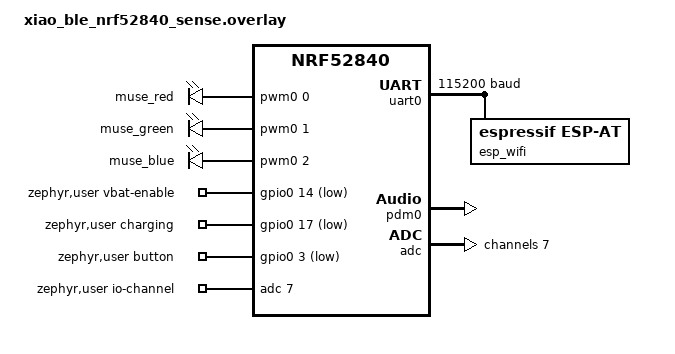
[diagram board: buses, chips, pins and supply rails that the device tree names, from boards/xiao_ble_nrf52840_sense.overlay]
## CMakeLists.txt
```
# Muse gadget firmware for the Seeed XIAO nRF52840 Sense (Zephyr).
cmake_minimum_required(VERSION 3.20.0)
find_package(Zephyr REQUIRED HINTS $ENV{ZEPHYR_BASE})
project(muse_xiao_sense LANGUAGES C CXX)

target_sources(app PRIVATE
  src/main.c
  src/mem.c
  src/identity.c
  src/store.c
  src/b64url.c
  src/ble_framing.c
  src/pairing.c
  src/setup.c
  src/net.c
  src/https.c
  src/muse_api.c
  src/link.cpp
  src/service.c
  src/commands.c
  lib/cjson/cJSON.c
)
target_sources_ifdef(CONFIG_BT app PRIVATE src/ble_gatt.c)
target_sources_ifdef(CONFIG_MUSE_SETUP_OVER_TCP app PRIVATE src/setup_tcp.c)
target_sources_ifdef(CONFIG_MUSE_BOARD_XIAO app PRIVATE src/board_xiao.c)
target_sources_ifndef(CONFIG_MUSE_BOARD_XIAO app PRIVATE src/board_sim.c)

# The Muse Gadget SDK's own Noise client core, unchanged, on PSA Crypto.
target_sources(app PRIVATE
  lib/noise_core/src/ClientSession.cpp
  lib/noise_core/src/InitiatorHandshake.cpp
  lib/noise_core/src/PsaCryptoBackend.cpp
  lib/noise_core/src/ServiceCodec.cpp
  lib/noise_core/src/Status.cpp
  lib/noise_core/src/Transport.cpp
  lib/noise_core/src/TransportFrameCodec.cpp
)
target_include_directories(app PRIVATE src lib/noise_core/include lib/cjson)
zephyr_include_directories(src)

# The root CA the Muse endpoints chain to (DigiCert Global Root G2).
generate_inc_file_for_target(app ${CMAKE_CURRENT_SOURCE_DIR}/${CONFIG_MUSE_ROOT_CA_FILE}
  ${ZEPHYR_BINARY_DIR}/include/generated/muse_root_ca.der.inc)
```

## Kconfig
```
mainmenu "Muse gadget for the Seeed XIAO nRF52840 Sense"

menu "Muse gadget"

config MUSE_SDK_TOKEN
	string "Muse Gadgets SDK token"
	default ""
	help
	  Your SDK token (mgst_...) from gadgets.muse.ai > Account > SDK tokens.
	  Every gadget needs one to pair. Never commit it.

config MUSE_FW_VERSION
	string "Firmware version reported to Muse"
	default "1.0.0"

config MUSE_DISPLAY_NAME
	string "Name shown in Muse"
	default "XIAO nRF52840 Sense"

config MUSE_API_BASE
	string "Muse API base URL, used when the app sends none"
	default "https://api.muse.ai"

config MUSE_NOISE_HOST
	string "Muse Noise host, used when the app sends none"
	default "hatch.metaaivm.com"

config MUSE_REGISTER_PLATFORM
	string "platform sent in link.register"
	default "esp32"
	help
	  The XIAO speaks the same pairing and control protocols as the SDK's
	  ESP32 firmware ("hatch_link" pairing model), so it registers with the
	  same platform, device family and model id that Muse already knows.

config MUSE_REGISTER_MODEL_ID
	string "model_id sent in link.register"
	default "esp-link"

config MUSE_ROOT_CA_FILE
	string "Root CA (DER) that the Muse endpoints must chain to"
	default "certs/digicert_global_root_g2.der"
	help
	  DigiCert Global Root G2 signs api.muse.ai and hatch.metaaivm.com.
	  The native_sim test substitutes its own CA for local fakes.

config MUSE_ALLOW_PLAINTEXT
	bool "Allow http:// and ws:// endpoints (tests only)"
	help
	  For the native_sim end-to-end test against local fakes. Never enable
	  it on hardware: setup secrets and device tokens would cross the
	  network unencrypted.

config MUSE_SETUP_OVER_TCP
	bool "Serve BLE setup over a TCP socket instead (tests only)"
	help
	  native_sim has no Bluetooth; this carries the exact GATT packet
	  stream over TCP so a test can play the Muse app.

config MUSE_SETUP_TCP_PORT
	int "TCP port for setup in tests"
	depends on MUSE_SETUP_OVER_TCP
	default 7700

config MUSE_NET_WIFI
	bool "Join Wi-Fi with the credentials from setup"
	default y if WIFI
	help
	  With a Wi-Fi interface (ESP-AT module on the XIAO's UART), setup
	  joins the network the Muse app picks. Without one, the device uses
	  whatever network it already has and offers it as the only choice,
	  like the SDK's Linux gadget.

config MUSE_BOARD_XIAO
	bool "XIAO nRF52840 Sense hardware (IMU, microphone, LED, battery)"
	default y if BOARD_XIAO_BLE

config MUSE_HEAP_SIZE
	int "Bytes for the gadget's heap (cJSON, mbedTLS, Noise buffers)"
	default 102400
	help
	  A live session holds a TLS connection (16 KB receive record buffer)
	  and the Noise session buffers (~44 KB). The log reports the peak.

config MUSE_BUTTON_FACTORY_RESET_S
	int "Hold the D1 button this long to forget the pairing"
	default 5

endmenu

source "Kconfig.zephyr"
```

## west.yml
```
# West manifest: `west init -l firmware && west update` fetches Zephyr 4.2
# and only the modules this firmware needs.
manifest:
  remotes:
    - name: zephyrproject-rtos
      url-base: https://github.com/zephyrproject-rtos
  projects:
    - name: zephyr
      remote: zephyrproject-rtos
      revision: v4.2.0
      import:
        name-allowlist: [cmsis, cmsis_6, hal_nordic, mbedtls, segger, picolibc]
  self:
    path: firmware
```

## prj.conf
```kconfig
# Common configuration. Board specifics are in boards/.

CONFIG_CPP=y
CONFIG_STD_CPP17=y
CONFIG_REQUIRES_FULL_LIBCPP=y
CONFIG_REQUIRES_FLOAT_PRINTF=y
CONFIG_MAIN_STACK_SIZE=3072
CONFIG_SYSTEM_WORKQUEUE_STACK_SIZE=2048
CONFIG_HWINFO=y
CONFIG_REBOOT=y
CONFIG_ENTROPY_GENERATOR=y
CONFIG_SYS_HEAP_RUNTIME_STATS=y

CONFIG_LOG=y
CONFIG_LOG_MODE_DEFERRED=y

# Pairing record and Wi-Fi credentials
CONFIG_FLASH=y
CONFIG_FLASH_MAP=y
CONFIG_NVS=y
CONFIG_SETTINGS=y
CONFIG_SETTINGS_NVS=y

# Networking: sockets, TLS, HTTP and WebSocket clients
CONFIG_NETWORKING=y
CONFIG_NET_SOCKETS=y
CONFIG_NET_SOCKETS_SOCKOPT_TLS=y
CONFIG_NET_SOCKETS_TLS_MAX_CONTEXTS=2
CONFIG_NET_SOCKETS_POLL_MAX=6
CONFIG_TLS_CREDENTIALS=y
CONFIG_TLS_MAX_CREDENTIALS_NUMBER=2
CONFIG_HTTP_CLIENT=y
CONFIG_WEBSOCKET_CLIENT=y
CONFIG_ZVFS_OPEN_MAX=16

# mbedTLS: TLS 1.2 to the Muse endpoints (RSA certificates from DigiCert
# Global Root G2), plus the primitives for BLE pairing (P-256 ECDH, HKDF,
# AES-GCM) and the Noise session (X25519, AES-GCM, SHA-256) via PSA.
CONFIG_MBEDTLS=y
CONFIG_MBEDTLS_BUILTIN=y
CONFIG_MBEDTLS_SSL_MAX_CONTENT_LEN=16384
# Servers may send full 16 KB records; ours stay small (see mbedtls_user_config.h).
CONFIG_MBEDTLS_USER_CONFIG_ENABLE=y
CONFIG_MBEDTLS_USER_CONFIG_FILE="mbedtls_user_config.h"
CONFIG_MBEDTLS_TLS_VERSION_1_2=y
CONFIG_MBEDTLS_SERVER_NAME_INDICATION=y
CONFIG_MBEDTLS_KEY_EXCHANGE_ECDHE_RSA_ENABLED=y
CONFIG_MBEDTLS_KEY_EXCHANGE_RSA_ENABLED=n
CONFIG_MBEDTLS_KEY_EXCHANGE_ALL_ENABLED=n
CONFIG_MBEDTLS_RSA_C=y
CONFIG_MBEDTLS_PKCS1_V15=y
CONFIG_MBEDTLS_PKCS1_V21=y
CONFIG_MBEDTLS_ECP_C=y
CONFIG_MBEDTLS_ECDH_C=y
CONFIG_MBEDTLS_ECP_DP_SECP256R1_ENABLED=y
CONFIG_MBEDTLS_ECP_DP_SECP384R1_ENABLED=y
CONFIG_MBEDTLS_ECP_DP_CURVE25519_ENABLED=y
CONFIG_MBEDTLS_ECP_NIST_OPTIM=y
CONFIG_MBEDTLS_CIPHER_AES_ENABLED=y
CONFIG_MBEDTLS_CIPHER_GCM_ENABLED=y
CONFIG_MBEDTLS_CIPHER_MODE_CBC_ENABLED=y
CONFIG_MBEDTLS_SHA256=y
CONFIG_MBEDTLS_SHA384=y
CONFIG_MBEDTLS_SHA512=y
CONFIG_MBEDTLS_SHA1=y
CONFIG_MBEDTLS_HKDF_C=y
CONFIG_MBEDTLS_MD=y
CONFIG_MBEDTLS_CIPHER=y
CONFIG_MBEDTLS_ENTROPY_C=y
CONFIG_MBEDTLS_CTR_DRBG_ENABLED=y
CONFIG_MBEDTLS_PSA_CRYPTO_C=y
CONFIG_PSA_WANT_ALG_ECDH=y
CONFIG_PSA_WANT_ALG_GCM=y
CONFIG_PSA_WANT_ALG_HKDF=y
CONFIG_PSA_WANT_ALG_HMAC=y
CONFIG_PSA_WANT_ALG_SHA_256=y
CONFIG_PSA_WANT_ECC_SECP_R1_256=y
CONFIG_PSA_WANT_ECC_MONTGOMERY_255=y
CONFIG_PSA_WANT_KEY_TYPE_AES=y
CONFIG_PSA_WANT_KEY_TYPE_ECC_PUBLIC_KEY=y
CONFIG_PSA_WANT_KEY_TYPE_ECC_KEY_PAIR_IMPORT=y
CONFIG_PSA_WANT_KEY_TYPE_ECC_KEY_PAIR_EXPORT=y
CONFIG_PSA_WANT_KEY_TYPE_ECC_KEY_PAIR_GENERATE=y
CONFIG_PSA_WANT_KEY_TYPE_ECC_KEY_PAIR_DERIVE=y
CONFIG_PSA_WANT_KEY_TYPE_DERIVE=y
CONFIG_PSA_WANT_KEY_TYPE_HMAC=y
# Certificate signatures (RSA, SHA-256/384) are checked through PSA too.
CONFIG_PSA_WANT_ALG_RSA_PKCS1V15_SIGN=y
CONFIG_PSA_WANT_ALG_RSA_PSS=y
CONFIG_PSA_WANT_KEY_TYPE_RSA_PUBLIC_KEY=y
CONFIG_PSA_WANT_ALG_SHA_384=y
CONFIG_PSA_WANT_ALG_SHA_512=y
CONFIG_PSA_WANT_ALG_SHA_1=y
# TLS 1.2 key derivation and record protection through PSA.
CONFIG_PSA_WANT_ALG_TLS12_PRF=y
CONFIG_PSA_WANT_KEY_TYPE_RAW_DATA=y
CONFIG_PSA_WANT_ALG_CBC_NO_PADDING=y
CONFIG_PSA_WANT_ALG_ECB_NO_PADDING=y
```

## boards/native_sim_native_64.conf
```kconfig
# native_sim: the end-to-end test against local fakes (tests/test_e2e_sim.py).
# Same TLS path as the hardware, with a test CA, and the same heap budget as
# the XIAO (64-bit pointers make this the harder case).
CONFIG_MUSE_HEAP_SIZE=102400
CONFIG_HEAP_MEM_POOL_SIZE=10240
CONFIG_NET_DRIVERS=y
CONFIG_NET_SOCKETS_OFFLOAD=y
CONFIG_NET_NATIVE_OFFLOADED_SOCKETS=y
CONFIG_NET_IPV4=y
CONFIG_NET_IPV6=n
CONFIG_DNS_RESOLVER=n
CONFIG_MUSE_SETUP_OVER_TCP=y
CONFIG_MUSE_ROOT_CA_FILE="tests/certs/test_ca.der"
CONFIG_MUSE_API_BASE="https://localhost:18443"
CONFIG_MUSE_NOISE_HOST="localhost:18444"
CONFIG_MUSE_SDK_TOKEN="mgst_test_only"
CONFIG_LOG_MODE_IMMEDIATE=y
CONFIG_LOG_MODE_DEFERRED=n
CONFIG_NATIVE_SIM_SLOWDOWN_TO_REAL_TIME=y
```

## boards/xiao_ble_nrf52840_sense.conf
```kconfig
# Seeed XIAO nRF52840 Sense

# Memory: cJSON, mbedTLS and the Noise session share the gadget's own heap
# (CONFIG_MUSE_HEAP_SIZE); the kernel heap serves Zephyr internals such as
# WebSocket send buffers, and libc malloc has no users.
CONFIG_MUSE_HEAP_SIZE=102400
CONFIG_HEAP_MEM_POOL_SIZE=10240
CONFIG_COMMON_LIBC_MALLOC_ARENA_SIZE=2048
CONFIG_LOG_BUFFER_SIZE=2048
CONFIG_ISR_STACK_SIZE=2048

# Bluetooth LE setup (the Muse app pairs over GATT)
CONFIG_BT=y
CONFIG_BT_PERIPHERAL=y
CONFIG_BT_DEVICE_NAME="MuseGadget"
CONFIG_BT_DEVICE_NAME_DYNAMIC=y
CONFIG_BT_DEVICE_NAME_MAX=24
CONFIG_BT_MAX_CONN=1
CONFIG_BT_L2CAP_TX_MTU=247
CONFIG_BT_BUF_ACL_RX_SIZE=251
CONFIG_BT_BUF_ACL_TX_SIZE=251
CONFIG_BT_CTLR_DATA_LENGTH_MAX=251
CONFIG_BT_GATT_CLIENT=n
CONFIG_BT_RX_STACK_SIZE=2048

# Wi-Fi through an ESP-AT module on the XIAO's UART (D6 TX, D7 RX)
CONFIG_WIFI=y
CONFIG_WIFI_ESP_AT=y
CONFIG_WIFI_ESP_AT_DNS_USE=y
CONFIG_WIFI_ESP_AT_MDM_RX_BUF_COUNT=24
CONFIG_WIFI_ESP_AT_MDM_RING_BUF_SIZE=2048
CONFIG_NET_L2_WIFI_MGMT=y
CONFIG_NET_MGMT=y
CONFIG_NET_MGMT_EVENT=y
CONFIG_NET_MGMT_EVENT_INFO=y
CONFIG_NET_MGMT_EVENT_STACK_SIZE=2048
CONFIG_NET_IPV4=y
CONFIG_NET_IPV6=n
CONFIG_NET_TCP=y
CONFIG_NET_DHCPV4=n
CONFIG_DNS_RESOLVER=y
CONFIG_DNS_RESOLVER_MAX_SERVERS=2
CONFIG_NET_UDP=y

# Sensors
CONFIG_SENSOR=y
CONFIG_LSM6DSL=y
CONFIG_LSM6DSL_ENABLE_TEMP=y
CONFIG_I2C=y
CONFIG_AUDIO=y
CONFIG_AUDIO_DMIC=y
CONFIG_ADC=y
CONFIG_PWM=y
CONFIG_REGULATOR=y
CONFIG_NET_MAX_CONN=4
```

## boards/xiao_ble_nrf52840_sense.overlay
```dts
/*
 * Muse gadget wiring on the XIAO nRF52840 Sense.
 *
 * Wi-Fi: an ESP32 running Espressif's ESP-AT firmware on UART0
 *   XIAO D6 (TX, P1.11) -> ESP RX, XIAO D7 (RX, P1.12) <- ESP TX, GND, 3V3.
 * Button: optional, between D1 (P0.03) and GND.
 */

&uart0 {
	status = "okay";
	current-speed = <115200>;

	esp_wifi: esp-wifi {
		compatible = "espressif,esp-at";
		status = "okay";
	};
};

/* The RGB LED on three PWM channels so it can mix colours. */
&pwm0_default {
	group1 {
		psels = <NRF_PSEL(PWM_OUT0, 0, 26)>,
			<NRF_PSEL(PWM_OUT1, 0, 30)>,
			<NRF_PSEL(PWM_OUT2, 0, 6)>;
	};
};

&pwm0_sleep {
	group1 {
		psels = <NRF_PSEL(PWM_OUT0, 0, 26)>,
			<NRF_PSEL(PWM_OUT1, 0, 30)>,
			<NRF_PSEL(PWM_OUT2, 0, 6)>;
		low-power-enable;
	};
};

/ {
	muse_rgb {
		compatible = "pwm-leds";
		muse_red: muse_red {
			pwms = <&pwm0 0 PWM_MSEC(2) PWM_POLARITY_INVERTED>;
		};
		muse_green: muse_green {
			pwms = <&pwm0 1 PWM_MSEC(2) PWM_POLARITY_INVERTED>;
		};
		muse_blue: muse_blue {
			pwms = <&pwm0 2 PWM_MSEC(2) PWM_POLARITY_INVERTED>;
		};
	};

	zephyr,user {
		io-channels = <&adc 7>;
		/* Held asserted (low): enables the VBAT divider on P0.31. */
		vbat-enable-gpios = <&gpio0 14 GPIO_ACTIVE_LOW>;
		/* BQ25101 ~CHG, low while charging. */
		charging-gpios = <&gpio0 17 (GPIO_ACTIVE_LOW | GPIO_PULL_UP)>;
		button-gpios = <&gpio0 3 (GPIO_ACTIVE_LOW | GPIO_PULL_UP)>;
	};
};

/* The board file configures the PDM microphone but leaves it disabled. */
&pdm0 {
	status = "okay";
};

&adc {
	#address-cells = <1>;
	#size-cells = <0>;

	channel@7 {
		reg = <7>;
		zephyr,gain = "ADC_GAIN_1_6";
		zephyr,reference = "ADC_REF_INTERNAL";
		zephyr,acquisition-time = <ADC_ACQ_TIME(ADC_ACQ_TIME_MICROSECONDS, 40)>;
		zephyr,input-positive = <NRF_SAADC_AIN7>;
		zephyr,resolution = <12>;
	};
};
```

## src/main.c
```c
/*
 * Muse gadget firmware for the Seeed XIAO nRF52840 Sense.
 *
 * A port of the Muse Gadget SDK (github.com/facebookincubator/muse-gadget-sdk)
 * to Zephyr: the XIAO pairs with the Muse app over BLE as MuseGadgetXXXXXX,
 * joins Wi-Fi, and holds its own encrypted Noise session to the Muse VM,
 * serving commands for its motion sensor, microphone, battery and light.
 */
#include <string.h>
#include <zephyr/kernel.h>
#include <zephyr/logging/log.h>
#include "board.h"
#include "identity.h"
#include "link.h"
#include "net.h"
#include "pairing.h"
#include "service.h"
#include "setup.h"
#include "setup_transport.h"
#include "store.h"

LOG_MODULE_REGISTER(main, LOG_LEVEL_INF);

static void on_setup_complete(void)
{
	setup_transport_stop(1500);
	service_kick();
}

static void on_board_event(const char *event)
{
	static const struct {
		const char *event;
		const char *text;
	} MESSAGES[] = {
		{"button", "The button on my XIAO gadget was pressed."},
		{"button_long", "The button on my XIAO gadget was held down."},
		{"shake", "My XIAO gadget was shaken."},
		{"free_fall", "My XIAO gadget detected a free fall. It may have been dropped."},
	};
	for (size_t i = 0; i < ARRAY_SIZE(MESSAGES); i++) {
		if (strcmp(event, MESSAGES[i].event) == 0) {
			if (!link_send_chat(MESSAGES[i].text)) {
				LOG_INF("not connected to Muse; %s not sent", event);
			}
			return;
		}
	}
}

int main(void)
{
	const struct identity *id = identity_get();
	LOG_INF("Muse gadget %s for XIAO nRF52840 Sense: %s (%s)", CONFIG_MUSE_FW_VERSION,
		id->ble_name, id->node_id);
	if (!CONFIG_MUSE_SDK_TOKEN[0]) {
		LOG_WRN("no SDK token: set CONFIG_MUSE_SDK_TOKEN; gadgets without one will stop pairing");
	}

	board_init();
	board_set_status(BOARD_STATUS_BOOT);
	if (store_init() != 0) {
		LOG_ERR("flash storage unavailable");
	}
	net_init();
	pairing_init(id->node_id, id->device_id, id->mac, CONFIG_MUSE_FW_VERSION,
		     CONFIG_MUSE_SDK_TOKEN);
	board_set_event_cb(on_board_event);

	if (store_is_paired()) {
		LOG_INF("paired; connecting to Muse");
	} else {
		LOG_INF("not paired: add %s in the Muse app (Settings > Devices, Developer mode)",
			id->ble_name);
		board_set_status(BOARD_STATUS_SETUP);
		setup_transport_start(id->ble_name);
		setup_set_complete_cb(on_setup_complete);
	}
	service_start();
	return 0;
}
```

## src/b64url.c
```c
#include <string.h>
#include "b64url.h"

static const char ALPHABET[] =
	"ABCDEFGHIJKLMNOPQRSTUVWXYZabcdefghijklmnopqrstuvwxyz0123456789-_";

int b64url_encode(const uint8_t *in, size_t len, char *out, size_t out_size)
{
	size_t need = (len / 3) * 4 + ((len % 3) ? (len % 3) + 1 : 0);
	if (need + 1 > out_size) {
		return -1;
	}
	size_t o = 0;
	for (size_t i = 0; i < len; i += 3) {
		uint32_t v = (uint32_t)in[i] << 16;
		size_t rem = len - i;
		if (rem > 1) {
			v |= (uint32_t)in[i + 1] << 8;
		}
		if (rem > 2) {
			v |= in[i + 2];
		}
		out[o++] = ALPHABET[(v >> 18) & 63];
		out[o++] = ALPHABET[(v >> 12) & 63];
		if (rem > 1) {
			out[o++] = ALPHABET[(v >> 6) & 63];
		}
		if (rem > 2) {
			out[o++] = ALPHABET[v & 63];
		}
	}
	out[o] = '\0';
	return (int)o;
}

static int value_of(char c)
{
	if (c >= 'A' && c <= 'Z') {
		return c - 'A';
	}
	if (c >= 'a' && c <= 'z') {
		return c - 'a' + 26;
	}
	if (c >= '0' && c <= '9') {
		return c - '0' + 52;
	}
	if (c == '-') {
		return 62;
	}
	if (c == '_') {
		return 63;
	}
	return -1;
}

int b64url_decode(const char *text, size_t max_chars, uint8_t *out, size_t out_size)
{
	if (!text) {
		return -1;
	}
	size_t len = strlen(text);
	if (len == 0 || len > max_chars || len % 4 == 1) {
		return -1;
	}
	size_t need = len / 4 * 3 + (len % 4 ? len % 4 - 1 : 0);
	if (need > out_size) {
		return -1;
	}
	uint32_t acc = 0;
	int bits = 0;
	size_t o = 0;
	for (size_t i = 0; i < len; i++) {
		int v = value_of(text[i]);
		if (v < 0) {
			return -1;
		}
		acc = (acc << 6) | (uint32_t)v;
		bits += 6;
		if (bits >= 8) {
			bits -= 8;
			out[o++] = (uint8_t)(acc >> bits);
		}
	}
	return (int)o;
}
```

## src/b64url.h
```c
/* Unpadded base64url, with the same strictness as the SDK's pairing code. */
#pragma once
#include <stddef.h>
#include <stdint.h>

/* Writes a NUL-terminated string; returns its length, or -1 if out is too small. */
int b64url_encode(const uint8_t *in, size_t len, char *out, size_t out_size);

/* Rejects padding, '+', '/', bad lengths and anything over max_chars.
 * Returns the decoded length, or -1. */
int b64url_decode(const char *text, size_t max_chars, uint8_t *out, size_t out_size);
```

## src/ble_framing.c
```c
#include <string.h>
#include "ble_framing.h"

size_t framing_packet_size(uint16_t mtu)
{
	size_t notify_max = mtu > 3 ? (size_t)mtu - 3 : 20;
	return notify_max < FRAMING_MAX_PACKET ? notify_max : FRAMING_MAX_PACKET;
}

void framing_reset(struct framing_assembler *a)
{
	a->len = 0;
	a->total = 0;
	a->next = 0;
}

bool framing_feed(struct framing_assembler *a, const uint8_t *pkt, size_t len,
		  const uint8_t **msg, size_t *msg_len)
{
	if (len < FRAMING_HEADER || pkt[0] != FRAMING_MAGIC) {
		*msg = pkt;
		*msg_len = len;
		return true;
	}
	uint8_t index = pkt[1], total = pkt[2];
	const uint8_t *frag = pkt + FRAMING_HEADER;
	size_t frag_len = len - FRAMING_HEADER;
	if (total == 0) {
		framing_reset(a);
		return false;
	}
	if (index == 0 || total != a->total) {
		framing_reset(a);
		a->total = total;
	}
	if (index != a->next || index >= a->total) {
		framing_reset(a);
		return false;
	}
	if (a->len + frag_len > sizeof(a->buf)) {
		framing_reset(a);
		return false;
	}
	memcpy(a->buf + a->len, frag, frag_len);
	a->len += frag_len;
	a->next = index + 1;
	if (a->next < a->total) {
		return false;
	}
	*msg = a->buf;
	*msg_len = a->len;
	a->total = 0;
	a->next = 0;
	/* len is cleared by the caller's next framing_reset or first chunk. */
	return true;
}
```

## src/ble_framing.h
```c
/*
 * Chunked framing for setup messages larger than one BLE packet, as in the
 * SDK: 0xFE, chunk index, total chunks, then a fragment. A packet that does
 * not start with 0xFE is a whole message.
 */
#pragma once
#include <stdbool.h>
#include <stddef.h>
#include <stdint.h>

#define FRAMING_MAGIC 0xFE
#define FRAMING_HEADER 3
#define FRAMING_MAX_PACKET 160
#define FRAMING_MAX_CHUNKS 255
#define FRAMING_MAX_MESSAGE 6144
#define FRAMING_DEFAULT_MTU 23

/* Usable notification size for an ATT MTU, capped like the SDK. */
size_t framing_packet_size(uint16_t mtu);

struct framing_assembler {
	uint8_t buf[FRAMING_MAX_MESSAGE];
	size_t len;
	uint8_t total;
	uint8_t next;
};

void framing_reset(struct framing_assembler *a);

/* Feeds one write. Returns true with msg and msg_len set when a message is
 * complete; *msg points into the packet (unchunked) or the assembler. */
bool framing_feed(struct framing_assembler *a, const uint8_t *pkt, size_t len,
		  const uint8_t **msg, size_t *msg_len);
```

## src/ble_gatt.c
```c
/*
 * The setup GATT service, as the Muse app expects it from the SDK's gadgets:
 * service 7fdd3d1c-..., RX (write) and TX (read/notify) characteristics, and
 * an advertisement with the service UUID, manufacturer data 0xFFFF + a paired
 * flag, and the name MuseGadgetXXXXXX in the scan response.
 */
#include <string.h>
#include <zephyr/kernel.h>
#include <zephyr/logging/log.h>
#include <zephyr/bluetooth/bluetooth.h>
#include <zephyr/bluetooth/conn.h>
#include <zephyr/bluetooth/gatt.h>
#include <zephyr/bluetooth/uuid.h>
#include "ble_framing.h"
#include "board.h"
#include "setup.h"
#include "setup_transport.h"
#include "store.h"

LOG_MODULE_REGISTER(ble, LOG_LEVEL_INF);

#define SVC_UUID_VAL BT_UUID_128_ENCODE(0x7fdd3d1c, 0x38ea, 0x46cf, 0x8b46, 0x314ecf5f240c)
static struct bt_uuid_128 svc_uuid = BT_UUID_INIT_128(SVC_UUID_VAL);
static struct bt_uuid_128 rx_uuid =
	BT_UUID_INIT_128(BT_UUID_128_ENCODE(0x4d593029, 0x28a2, 0x4a6e, 0xa1f0, 0x3c2d5e8f9b01));
static struct bt_uuid_128 tx_uuid =
	BT_UUID_INIT_128(BT_UUID_128_ENCODE(0xd75dc4ca, 0x7b2b, 0x4e9c, 0x8f0a, 0x1d2e3f4a5b6c));

static struct bt_conn *s_conn;
static bool s_advertising_enabled;
static struct k_work s_adv_work;
static struct k_work_delayable s_disconnect_work;
static struct k_work_delayable s_stop_work;
static K_MUTEX_DEFINE(s_conn_lock);

static ssize_t on_write(struct bt_conn *conn, const struct bt_gatt_attr *attr, const void *buf,
			uint16_t len, uint16_t offset, uint8_t flags)
{
	if (offset != 0) {
		return BT_GATT_ERR(BT_ATT_ERR_INVALID_OFFSET);
	}
	setup_on_write(buf, len);
	return len;
}

static ssize_t on_read(struct bt_conn *conn, const struct bt_gatt_attr *attr, void *buf,
		       uint16_t len, uint16_t offset)
{
	return bt_gatt_attr_read(conn, attr, buf, len, offset, "", 0);
}

static void ccc_changed(const struct bt_gatt_attr *attr, uint16_t value)
{
	LOG_INF("client %s notifications", value ? "subscribed to" : "unsubscribed from");
}

BT_GATT_SERVICE_DEFINE(setup_svc,
	BT_GATT_PRIMARY_SERVICE(&svc_uuid),
	BT_GATT_CHARACTERISTIC(&rx_uuid.uuid, BT_GATT_CHRC_WRITE | BT_GATT_CHRC_WRITE_WITHOUT_RESP,
			       BT_GATT_PERM_WRITE, NULL, on_write, NULL),
	BT_GATT_CHARACTERISTIC(&tx_uuid.uuid, BT_GATT_CHRC_READ | BT_GATT_CHRC_NOTIFY,
			       BT_GATT_PERM_READ, on_read, NULL, NULL),
	BT_GATT_CCC(ccc_changed, BT_GATT_PERM_READ | BT_GATT_PERM_WRITE),
);

static int ble_send(const uint8_t *pkt, size_t len)
{
	k_mutex_lock(&s_conn_lock, K_FOREVER);
	struct bt_conn *conn = s_conn ? bt_conn_ref(s_conn) : NULL;
	k_mutex_unlock(&s_conn_lock);
	if (!conn) {
		return -ENOTCONN;
	}
	int rc;
	for (int tries = 0; tries < 100; tries++) {
		rc = bt_gatt_notify(conn, &setup_svc.attrs[4], pkt, len);
		if (rc != -ENOMEM && rc != -ENOBUFS) {
			break;
		}
		k_sleep(K_MSEC(10));
	}
	bt_conn_unref(conn);
	return rc;
}

static uint16_t ble_mtu(void)
{
	k_mutex_lock(&s_conn_lock, K_FOREVER);
	uint16_t mtu = s_conn ? bt_gatt_get_mtu(s_conn) : FRAMING_DEFAULT_MTU;
	k_mutex_unlock(&s_conn_lock);
	return mtu;
}

static void disconnect_work(struct k_work *work)
{
	k_mutex_lock(&s_conn_lock, K_FOREVER);
	if (s_conn) {
		bt_conn_disconnect(s_conn, BT_HCI_ERR_REMOTE_USER_TERM_CONN);
	}
	k_mutex_unlock(&s_conn_lock);
}

static void ble_disconnect(int delay_ms)
{
	k_work_reschedule(&s_disconnect_work, K_MSEC(delay_ms));
}

static const struct setup_transport TRANSPORT = {
	.send = ble_send,
	.mtu = ble_mtu,
	.disconnect = ble_disconnect,
};

static void adv_work(struct k_work *work)
{
	if (!s_advertising_enabled || s_conn) {
		return;
	}
	static uint8_t mfg[3] = {0xFF, 0xFF, 0x00};
	mfg[2] = store_is_paired() ? 0x01 : 0x00;
	static const uint8_t svc[] = {SVC_UUID_VAL};
	const struct bt_data ad[] = {
		BT_DATA_BYTES(BT_DATA_FLAGS, BT_LE_AD_GENERAL | BT_LE_AD_NO_BREDR),
		BT_DATA(BT_DATA_UUID128_ALL, svc, sizeof(svc)),
		BT_DATA(BT_DATA_MANUFACTURER_DATA, mfg, sizeof(mfg)),
	};
	const char *name = bt_get_name();
	const struct bt_data sd[] = {
		BT_DATA(BT_DATA_NAME_COMPLETE, name, strlen(name)),
	};
	int rc = bt_le_adv_start(BT_LE_ADV_PARAM(BT_LE_ADV_OPT_CONN, BT_GAP_ADV_FAST_INT_MIN_2,
						 BT_GAP_ADV_FAST_INT_MAX_2, NULL),
				 ad, ARRAY_SIZE(ad), sd, ARRAY_SIZE(sd));
	if (rc && rc != -EALREADY) {
		LOG_ERR("advertising failed: %d", rc);
	} else {
		LOG_INF("advertising as %s", name);
	}
}

static void connected(struct bt_conn *conn, uint8_t err)
{
	if (err) {
		k_work_submit(&s_adv_work);
		return;
	}
	k_mutex_lock(&s_conn_lock, K_FOREVER);
	if (s_conn) {
		k_mutex_unlock(&s_conn_lock);
		bt_conn_disconnect(conn, BT_HCI_ERR_CONN_LIMIT_EXCEEDED);
		return;
	}
	s_conn = bt_conn_ref(conn);
	k_mutex_unlock(&s_conn_lock);
	LOG_INF("setup client connected");
	board_set_status(BOARD_STATUS_PAIRING);
}

static void disconnected(struct bt_conn *conn, uint8_t reason)
{
	k_mutex_lock(&s_conn_lock, K_FOREVER);
	if (conn != s_conn) {
		k_mutex_unlock(&s_conn_lock);
		return;
	}
	bt_conn_unref(s_conn);
	s_conn = NULL;
	k_mutex_unlock(&s_conn_lock);
	LOG_INF("setup client disconnected (0x%02x)", reason);
	setup_on_disconnect();
	if (!store_is_paired()) {
		board_set_status(BOARD_STATUS_SETUP);
	}
}

static void recycled(void)
{
	k_work_submit(&s_adv_work);
}

static void mtu_updated(struct bt_conn *conn, uint16_t tx, uint16_t rx)
{
	LOG_INF("ATT MTU %u", bt_gatt_get_mtu(conn));
}

BT_CONN_CB_DEFINE(conn_cb) = {
	.connected = connected,
	.disconnected = disconnected,
	.recycled = recycled,
};

static struct bt_gatt_cb gatt_cb = {
	.att_mtu_updated = mtu_updated,
};

static void stop_work(struct k_work *work)
{
	s_advertising_enabled = false;
	bt_le_adv_stop();
	disconnect_work(NULL);
	LOG_INF("setup closed");
}

int setup_transport_start(const char *name)
{
	static bool initialised;
	if (!initialised) {
		k_work_init(&s_adv_work, adv_work);
		k_work_init_delayable(&s_disconnect_work, disconnect_work);
		k_work_init_delayable(&s_stop_work, stop_work);
		int rc = bt_enable(NULL);
		if (rc) {
			LOG_ERR("Bluetooth init failed: %d", rc);
			return rc;
		}
		bt_gatt_cb_register(&gatt_cb);
		initialised = true;
	}
	setup_init(&TRANSPORT, NULL);
	bt_set_name(name);
	s_advertising_enabled = true;
	k_work_submit(&s_adv_work);
	return 0;
}

void setup_transport_stop(int delay_ms)
{
	k_work_reschedule(&s_stop_work, K_MSEC(delay_ms));
}
```

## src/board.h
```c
/* The board's sensors, light and button. */
#pragma once
#include <stdbool.h>
#include <stdint.h>

enum board_status {
	BOARD_STATUS_BOOT,
	BOARD_STATUS_SETUP,      /* breathing orange: ready for the Muse app */
	BOARD_STATUS_PAIRING,    /* breathing blue: the app is pairing */
	BOARD_STATUS_CONNECTING, /* blinking yellow */
	BOARD_STATUS_ONLINE,     /* a green blip every few seconds */
	BOARD_STATUS_OFFLINE,    /* blinking red */
};

struct board_motion {
	bool ok;
	float accel_g[3];
	float gyro_dps[3];
	float temp_c;
	bool temp_ok;
};

struct board_battery {
	bool present;
	int millivolts;
	int percent;
	bool charging;
};

int board_init(void);
void board_set_status(enum board_status status);

/* Muse can take over the light; mode is "solid", "blink" or "breathe".
 * Off hands it back to the status pattern. */
void board_set_light(uint8_t r, uint8_t g, uint8_t b, const char *mode);

int board_read_motion(struct board_motion *out);
/* Records for duration_ms and reports RMS and peak (0..32767) and dBFS. */
int board_read_sound(int duration_ms, int *rms, int *peak, float *dbfs);
int board_read_battery(struct board_battery *out);
bool board_has_sensors(void);

/* Events: button click / long press, shake, free fall. */
typedef void (*board_event_cb)(const char *event);
void board_set_event_cb(board_event_cb cb);
```

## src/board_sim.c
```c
/* Stand-in board for native_sim: steady fake readings, light logged. */
#include <string.h>
#include <zephyr/kernel.h>
#include <zephyr/logging/log.h>
#include "board.h"

LOG_MODULE_REGISTER(board, LOG_LEVEL_INF);

int board_init(void)
{
	return 0;
}

void board_set_status(enum board_status status)
{
	static enum board_status last = -1;
	if (status != last) {
		LOG_INF("status light: %d", status);
		last = status;
	}
}

void board_set_light(uint8_t r, uint8_t g, uint8_t b, const char *mode)
{
	LOG_INF("light: #%02x%02x%02x %s", r, g, b, mode);
}

bool board_has_sensors(void)
{
	return true;
}

int board_read_motion(struct board_motion *out)
{
	memset(out, 0, sizeof(*out));
	out->ok = true;
	out->accel_g[2] = 1.0f;
	out->temp_ok = true;
	out->temp_c = 24.5f;
	return 0;
}

int board_read_sound(int duration_ms, int *rms, int *peak, float *dbfs)
{
	k_sleep(K_MSEC(duration_ms));
	*rms = 328;
	*peak = 2000;
	*dbfs = -40.0f;
	return 0;
}

int board_read_battery(struct board_battery *out)
{
	memset(out, 0, sizeof(*out));
	return 0;
}

static board_event_cb s_event_cb;

void board_set_event_cb(board_event_cb cb)
{
	s_event_cb = cb;
}

/* A "button press" every 5 s, so the test sees device-originated chat. */
static void sim_events(void *a, void *b, void *c)
{
	for (;;) {
		k_sleep(K_SECONDS(5));
		if (s_event_cb) {
			s_event_cb("button");
		}
	}
}

K_THREAD_DEFINE(sim_events_thread, 2048, sim_events, NULL, NULL, NULL, 10, 0, 0);
```

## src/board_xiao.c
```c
/*
 * XIAO nRF52840 Sense hardware: LSM6DS3TR-C motion sensor, MSM261 PDM
 * microphone, battery voltage and charge state, the RGB LED (on PWM so it
 * can mix colours) and a button on D1.
 */
#include <math.h>
#include <string.h>
#include <zephyr/kernel.h>
#include <zephyr/logging/log.h>
#include <zephyr/audio/dmic.h>
#include <zephyr/drivers/adc.h>
#include <zephyr/drivers/gpio.h>
#include <zephyr/drivers/pwm.h>
#include <zephyr/drivers/regulator.h>
#include <zephyr/drivers/sensor.h>
#include "board.h"
#include "service.h"

LOG_MODULE_REGISTER(board, LOG_LEVEL_INF);

#define USER DT_PATH(zephyr_user)

static const struct device *const imu = DEVICE_DT_GET(DT_NODELABEL(lsm6ds3tr_c));
static const struct device *const pdm = DEVICE_DT_GET(DT_NODELABEL(pdm0));
static const struct device *const mic_power = DEVICE_DT_GET(DT_PATH(msm261d3526hicpm_c_en));
static const struct pwm_dt_spec rgb[3] = {
	PWM_DT_SPEC_GET(DT_NODELABEL(muse_red)),
	PWM_DT_SPEC_GET(DT_NODELABEL(muse_green)),
	PWM_DT_SPEC_GET(DT_NODELABEL(muse_blue)),
};
static const struct adc_dt_spec vbat = ADC_DT_SPEC_GET(USER);
static const struct gpio_dt_spec vbat_enable = GPIO_DT_SPEC_GET(USER, vbat_enable_gpios);
static const struct gpio_dt_spec charging = GPIO_DT_SPEC_GET(USER, charging_gpios);
static const struct gpio_dt_spec button = GPIO_DT_SPEC_GET(USER, button_gpios);

static K_MUTEX_DEFINE(s_imu_lock);
static K_MUTEX_DEFINE(s_mic_lock);
static bool s_imu_ok;
static board_event_cb s_event_cb;

/* ---- Light ---------------------------------------------------------------- */

static volatile enum board_status s_status = BOARD_STATUS_BOOT;
static struct {
	uint8_t r, g, b;
	uint8_t mode; /* 0 solid, 1 blink, 2 breathe */
	bool active;
} s_light;

static void write_rgb(uint8_t r, uint8_t g, uint8_t b)
{
	uint8_t v[3] = {r, g, b};
	for (int i = 0; i < 3; i++) {
		if (pwm_is_ready_dt(&rgb[i])) {
			pwm_set_pulse_dt(&rgb[i], (uint32_t)((uint64_t)rgb[i].period * v[i] / 255));
		}
	}
}

/* 0..255..0 over period_ms, eased. */
static uint32_t breathe(int64_t now, int period_ms)
{
	uint32_t t = now % period_ms, half = period_ms / 2;
	uint32_t tri = t < half ? t : period_ms - t;
	return tri * tri * 255 / (half * half);
}

static void light_thread(void *a, void *b, void *c)
{
	for (;;) {
		int64_t now = k_uptime_get();
		if (s_light.active) {
			uint32_t k = 255;
			if (s_light.mode == 1) {
				k = (now % 1000) < 500 ? 255 : 0;
			} else if (s_light.mode == 2) {
				k = breathe(now, 2000);
			}
			write_rgb(s_light.r * k / 255, s_light.g * k / 255, s_light.b * k / 255);
		} else {
			switch (s_status) {
			case BOARD_STATUS_SETUP: /* breathing orange, like the ESP32 boards */
				write_rgb(breathe(now, 3000) * 200 / 255, breathe(now, 3000) * 60 / 255, 0);
				break;
			case BOARD_STATUS_PAIRING: /* breathing blue */
				write_rgb(0, 0, breathe(now, 1500) * 200 / 255);
				break;
			case BOARD_STATUS_CONNECTING:
				write_rgb((now % 600) < 300 ? 160 : 0, (now % 600) < 300 ? 100 : 0, 0);
				break;
			case BOARD_STATUS_ONLINE: /* a short green blip every 4 s */
				write_rgb(0, (now % 4000) < 80 ? 60 : 0, 0);
				break;
			case BOARD_STATUS_OFFLINE:
				write_rgb((now % 2000) < 150 ? 160 : 0, 0, 0);
				break;
			default:
				write_rgb(30, 30, 30);
				break;
			}
		}
		k_sleep(K_MSEC(20));
	}
}

K_THREAD_DEFINE(board_light, 1024, light_thread, NULL, NULL, NULL, 12, 0, 100);

void board_set_status(enum board_status status)
{
	s_status = status;
}

void board_set_light(uint8_t r, uint8_t g, uint8_t b, const char *mode)
{
	s_light.r = r;
	s_light.g = g;
	s_light.b = b;
	s_light.mode = strcmp(mode, "blink") == 0 ? 1 : strcmp(mode, "breathe") == 0 ? 2 : 0;
	s_light.active = r || g || b;
}

/* ---- Motion ------------------------------------------------------------- */

bool board_has_sensors(void)
{
	return true;
}

int board_read_motion(struct board_motion *out)
{
	memset(out, 0, sizeof(*out));
	if (!s_imu_ok) {
		return -ENODEV;
	}
	struct sensor_value a[3], g[3], t;
	k_mutex_lock(&s_imu_lock, K_FOREVER);
	int rc = sensor_sample_fetch(imu);
	rc = rc ? rc : sensor_channel_get(imu, SENSOR_CHAN_ACCEL_XYZ, a);
	rc = rc ? rc : sensor_channel_get(imu, SENSOR_CHAN_GYRO_XYZ, g);
	out->temp_ok = rc == 0 && sensor_channel_get(imu, SENSOR_CHAN_DIE_TEMP, &t) == 0;
	k_mutex_unlock(&s_imu_lock);
	if (rc) {
		return rc;
	}
	for (int i = 0; i < 3; i++) {
		out->accel_g[i] = (float)(sensor_value_to_double(&a[i]) / SENSOR_G * 1000000.0);
		out->gyro_dps[i] = (float)(sensor_value_to_double(&g[i]) * 57.29578);
	}
	if (out->temp_ok) {
		out->temp_c = (float)sensor_value_to_double(&t);
	}
	out->ok = true;
	return 0;
}

static void emit(const char *event)
{
	LOG_INF("event: %s", event);
	if (s_event_cb) {
		s_event_cb(event);
	}
}

/* Free fall: under 0.35 g for 80 ms. Shake: 4 swings past 2.2 g within 1 s. */
static void detect_motion(const struct board_motion *m, int64_t now)
{
	static int64_t fall_since, last_fall, swing_window, last_shake;
	static int swings;
	static bool high;
	float mag = sqrtf(m->accel_g[0] * m->accel_g[0] + m->accel_g[1] * m->accel_g[1] +
			  m->accel_g[2] * m->accel_g[2]);
	if (mag < 0.35f) {
		if (!fall_since) {
			fall_since = now;
		}
		if (now - fall_since >= 80 && now - last_fall > 2000) {
			last_fall = now;
			emit("free_fall");
		}
	} else {
		fall_since = 0;
	}
	if (now - swing_window > 1000) {
		swing_window = now;
		swings = 0;
	}
	if (!high && mag > 2.2f) {
		high = true;
		if (++swings >= 4 && now - last_shake > 3000) {
			last_shake = now;
			swings = 0;
			emit("shake");
		}
	} else if (high && mag < 1.6f) {
		high = false;
	}
}

/* ---- Button ------------------------------------------------------------- */

static void poll_button(int64_t now)
{
	static bool down, long_sent, reset_armed;
	static int64_t since, last_change;
	bool pressed = gpio_pin_get_dt(&button) == 1;
	if (pressed != down && now - last_change > 30) {
		last_change = now;
		down = pressed;
		if (down) {
			since = now;
			long_sent = false;
			reset_armed = false;
		} else if (!long_sent) {
			emit("button");
		}
	}
	if (down && !long_sent && now - since >= 1000) {
		long_sent = true;
		emit("button_long");
	}
	if (down && !reset_armed && now - since >= CONFIG_MUSE_BUTTON_FACTORY_RESET_S * 1000) {
		reset_armed = true;
		service_unpair();
	}
}

static void sense_thread(void *a, void *b, void *c)
{
	struct board_motion m;
	for (;;) {
		int64_t now = k_uptime_get();
		poll_button(now);
		if (s_imu_ok && board_read_motion(&m) == 0) {
			detect_motion(&m, now);
		}
		k_sleep(K_MSEC(20));
	}
}

K_THREAD_DEFINE(board_sense, 2048, sense_thread, NULL, NULL, NULL, 11, 0, 1500);

void board_set_event_cb(board_event_cb cb)
{
	s_event_cb = cb;
}

/* ---- Microphone ------------------------------------------------------------- */

#define PCM_RATE 16000
#define BLOCK_MS 50
#define BLOCK_BYTES (PCM_RATE * 2 * BLOCK_MS / 1000)
K_MEM_SLAB_DEFINE_STATIC(s_pcm_slab, BLOCK_BYTES, 3, 4);

int board_read_sound(int duration_ms, int *rms_out, int *peak_out, float *dbfs_out)
{
	if (!device_is_ready(pdm)) {
		return -ENODEV;
	}
	k_mutex_lock(&s_mic_lock, K_FOREVER);
	regulator_enable(mic_power);
	k_sleep(K_MSEC(20));
	struct pcm_stream_cfg stream = {
		.pcm_rate = PCM_RATE,
		.pcm_width = 16,
		.block_size = BLOCK_BYTES,
		.mem_slab = &s_pcm_slab,
	};
	struct dmic_cfg cfg = {
		.io = {
			.min_pdm_clk_freq = 1000000,
			.max_pdm_clk_freq = 3250000,
			.min_pdm_clk_dc = 40,
			.max_pdm_clk_dc = 60,
		},
		.streams = &stream,
		.channel = {
			.req_num_chan = 1,
			.req_num_streams = 1,
			.req_chan_map_lo = dmic_build_channel_map(0, 0, PDM_CHAN_LEFT),
		},
	};
	int rc = dmic_configure(pdm, &cfg);
	rc = rc ? rc : dmic_trigger(pdm, DMIC_TRIGGER_START);
	uint64_t sum_sq = 0;
	uint32_t samples = 0;
	int peak = 0;
	/* The first blocks carry the microphone's start-up transient. */
	int skip = 3, blocks = duration_ms / BLOCK_MS;
	for (int i = 0; rc == 0 && i < skip + blocks; i++) {
		void *buf;
		size_t size;
		rc = dmic_read(pdm, 0, &buf, &size, 500);
		if (rc) {
			break;
		}
		if (i >= skip) {
			const int16_t *s = buf;
			int64_t mean = 0;
			for (size_t j = 0; j < size / 2; j++) {
				mean += s[j];
			}
			mean /= (int64_t)MAX(size / 2, 1);
			for (size_t j = 0; j < size / 2; j++) {
				int32_t v = s[j] - (int32_t)mean;
				sum_sq += (uint64_t)((int64_t)v * v);
				peak = MAX(peak, abs(v));
			}
			samples += size / 2;
		}
		k_mem_slab_free(&s_pcm_slab, buf);
	}
	dmic_trigger(pdm, DMIC_TRIGGER_STOP);
	regulator_disable(mic_power);
	k_mutex_unlock(&s_mic_lock);
	if (rc || samples == 0) {
		LOG_WRN("microphone read failed: %d", rc);
		return rc ? rc : -EIO;
	}
	double rms = sqrt((double)sum_sq / samples);
	*rms_out = (int)rms;
	*peak_out = MIN(peak, 32767);
	*dbfs_out = rms > 0 ? (float)(20.0 * log10(rms / 32768.0)) : -120.0f;
	return 0;
}

/* ---- Battery ------------------------------------------------------------- */

int board_read_battery(struct board_battery *out)
{
	memset(out, 0, sizeof(*out));
	if (!adc_is_ready_dt(&vbat)) {
		return -ENODEV;
	}
	int16_t raw;
	struct adc_sequence seq = {.buffer = &raw, .buffer_size = sizeof(raw)};
	adc_sequence_init_dt(&vbat, &seq);
	int32_t sum = 0;
	for (int i = 0; i < 8; i++) {
		if (adc_read_dt(&vbat, &seq) != 0) {
			return -EIO;
		}
		sum += raw;
	}
	int32_t mv = sum / 8;
	adc_raw_to_millivolts_dt(&vbat, &mv);
	/* VBAT reaches P0.31 through a 1 M / 510 k divider. */
	mv = mv * 1510 / 510;
	out->charging = gpio_pin_get_dt(&charging) == 1;
	/* With no battery the charger output floats around 4.2-4.3 V or reads
	 * near zero; only call it a battery inside a lithium cell's range. */
	out->present = mv >= 2900 && mv <= 4350;
	out->millivolts = mv;
	out->percent = CLAMP((mv - 3300) * 100 / (4150 - 3300), 0, 100);
	return 0;
}

/* ---- Init --------------------------------------------------------------- */

int board_init(void)
{
	/* Keep VBAT_ENABLE asserted (P0.14 low): leaving it high would put the
	 * full battery voltage on P0.31. */
	gpio_pin_configure_dt(&vbat_enable, GPIO_OUTPUT_ACTIVE);
	gpio_pin_configure_dt(&charging, GPIO_INPUT);
	gpio_pin_configure_dt(&button, GPIO_INPUT);
	if (adc_is_ready_dt(&vbat)) {
		adc_channel_setup_dt(&vbat);
	}
	s_imu_ok = device_is_ready(imu);
	if (s_imu_ok) {
		struct sensor_value odr = {.val1 = 104};
		sensor_attr_set(imu, SENSOR_CHAN_ACCEL_XYZ, SENSOR_ATTR_SAMPLING_FREQUENCY, &odr);
		sensor_attr_set(imu, SENSOR_CHAN_GYRO_XYZ, SENSOR_ATTR_SAMPLING_FREQUENCY, &odr);
	}
	LOG_INF("motion sensor %s, microphone %s", s_imu_ok ? "ready" : "missing",
		device_is_ready(pdm) ? "ready" : "missing");
	return 0;
}
```

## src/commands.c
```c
/*
 * The commands this gadget offers Muse in link.register (commands_v2), in the
 * shape the SDK's firmware uses: description, required and optional params.
 */
#include <math.h>
#include <stdio.h>
#include <stdlib.h>
#include <string.h>
#include <strings.h>
#include <zephyr/kernel.h>
#include "board.h"
#include "commands.h"
#include "net.h"

static cJSON *param(const char *type, const char *description)
{
	cJSON *p = cJSON_CreateObject();
	cJSON_AddStringToObject(p, "type", type);
	cJSON_AddStringToObject(p, "description", description);
	return p;
}

static void add_command(cJSON *commands, const char *name, const char *description,
			cJSON *required, cJSON *optional)
{
	cJSON *c = cJSON_AddObjectToObject(commands, name);
	cJSON_AddStringToObject(c, "description", description);
	cJSON_AddItemToObject(c, "required", required ? required : cJSON_CreateObject());
	cJSON_AddItemToObject(c, "optional", optional ? optional : cJSON_CreateObject());
}

cJSON *commands_specs(void)
{
	cJSON *commands = cJSON_CreateObject();
	add_command(commands, "device.health",
		    "Report basic Link health, including battery level (percent), voltage, and "
		    "whether it is charging or on USB power; each is null when the device has no "
		    "battery or can't measure it",
		    NULL, NULL);
	if (board_has_sensors()) {
		add_command(commands, "motion.read",
			    "Read the XIAO's motion sensor: acceleration in g and rotation in degrees "
			    "per second on x, y and z, which way up the board is, and the sensor "
			    "chip's temperature in degrees Celsius (it runs a few degrees above the "
			    "room).",
			    NULL, NULL);
		cJSON *opt = cJSON_CreateObject();
		cJSON_AddItemToObject(opt, "duration_ms",
				      param("integer", "How long to listen, 100 to 5000 ms. Default 1000."));
		add_command(commands, "sound.level",
			    "Listen with the XIAO's microphone and report how loud it is: RMS and "
			    "peak level (0-32767) and the level in dBFS (0 is the loudest the "
			    "microphone can measure; a quiet room is around -60, speech -30 to -20). "
			    "No audio is kept or sent.",
			    NULL, opt);
	}
	cJSON *req = cJSON_CreateObject();
	cJSON_AddItemToObject(req, "color",
			      param("string", "A colour name (red, green, blue, white, yellow, orange, "
					      "purple, cyan, pink) or #RRGGBB, or off to give the light "
					      "back to the status pattern."));
	cJSON *opt = cJSON_CreateObject();
	cJSON_AddItemToObject(opt, "mode", param("string", "solid (default), blink or breathe."));
	add_command(commands, "light.set", "Set the XIAO's RGB status light.", req, opt);
	return commands;
}

static cJSON *ok(cJSON *payload)
{
	cJSON *r = cJSON_CreateObject();
	cJSON_AddBoolToObject(r, "ok", true);
	cJSON_AddItemToObject(r, "payload", payload ? payload : cJSON_CreateObject());
	return r;
}

static cJSON *error(const char *message)
{
	cJSON *r = cJSON_CreateObject();
	cJSON_AddBoolToObject(r, "ok", false);
	cJSON_AddStringToObject(r, "error", message);
	return r;
}

static double round_to(double v, double step)
{
	return round(v / step) * step;
}

static cJSON *device_health(void)
{
	cJSON *p = cJSON_CreateObject();
	struct board_battery bat;
	bool have = board_read_battery(&bat) == 0 && bat.present;
	if (have) {
		cJSON_AddNumberToObject(p, "battery_percent", bat.percent);
		cJSON_AddNumberToObject(p, "battery_voltage", round_to(bat.millivolts / 1000.0, 0.01));
		cJSON_AddBoolToObject(p, "charging", bat.charging);
	} else {
		cJSON_AddNullToObject(p, "battery_percent");
		cJSON_AddNullToObject(p, "battery_voltage");
		cJSON_AddNullToObject(p, "charging");
	}
	cJSON_AddNumberToObject(p, "uptime_s", (double)(k_uptime_get() / 1000));
	cJSON_AddStringToObject(p, "version", CONFIG_MUSE_FW_VERSION);
	cJSON_AddStringToObject(p, "board", "Seeed XIAO nRF52840 Sense");
	const char *ssid = net_current_ssid();
	if (ssid && *ssid) {
		cJSON_AddStringToObject(p, "network_ssid", ssid);
	}
	return ok(p);
}

static const char *orientation(const float a[3])
{
	int axis = 0;
	for (int i = 1; i < 3; i++) {
		if (fabsf(a[i]) > fabsf(a[axis])) {
			axis = i;
		}
	}
	if (fabsf(a[axis]) < 0.7f) {
		return "tilted";
	}
	static const char *const NAMES[3][2] = {
		{"-x up", "+x up"}, {"-y up", "+y up"}, {"lying flat, chips facing down",
							"lying flat, chips facing up"}};
	return NAMES[axis][a[axis] > 0];
}

static cJSON *motion_read(void)
{
	struct board_motion m;
	if (board_read_motion(&m) != 0 || !m.ok) {
		return error("the motion sensor is not responding");
	}
	cJSON *p = cJSON_CreateObject();
	cJSON *a = cJSON_AddObjectToObject(p, "accel_g");
	cJSON *g = cJSON_AddObjectToObject(p, "gyro_dps");
	static const char *const AX[] = {"x", "y", "z"};
	for (int i = 0; i < 3; i++) {
		cJSON_AddNumberToObject(a, AX[i], round_to(m.accel_g[i], 0.001));
		cJSON_AddNumberToObject(g, AX[i], round_to(m.gyro_dps[i], 0.1));
	}
	cJSON_AddStringToObject(p, "orientation", orientation(m.accel_g));
	float mag = sqrtf(m.accel_g[0] * m.accel_g[0] + m.accel_g[1] * m.accel_g[1] +
			  m.accel_g[2] * m.accel_g[2]);
	cJSON_AddBoolToObject(p, "moving", fabsf(mag - 1.0f) > 0.08f ||
					       fabsf(m.gyro_dps[0]) + fabsf(m.gyro_dps[1]) +
						       fabsf(m.gyro_dps[2]) > 15.0f);
	if (m.temp_ok) {
		cJSON_AddNumberToObject(p, "temperature_c", round_to(m.temp_c, 0.1));
	} else {
		cJSON_AddNullToObject(p, "temperature_c");
	}
	return ok(p);
}

static cJSON *sound_level(const cJSON *params)
{
	int duration = 1000;
	const cJSON *d = cJSON_GetObjectItem(params, "duration_ms");
	if (cJSON_IsNumber(d)) {
		duration = CLAMP((int)d->valuedouble, 100, 5000);
	}
	int rms = 0, peak = 0;
	float dbfs = 0;
	if (board_read_sound(duration, &rms, &peak, &dbfs) != 0) {
		return error("the microphone is not responding");
	}
	cJSON *p = cJSON_CreateObject();
	cJSON_AddNumberToObject(p, "duration_ms", duration);
	cJSON_AddNumberToObject(p, "rms", rms);
	cJSON_AddNumberToObject(p, "peak", peak);
	if (rms > 0) {
		cJSON_AddNumberToObject(p, "level_dbfs", round_to(dbfs, 0.1));
	} else {
		cJSON_AddNullToObject(p, "level_dbfs");
	}
	return ok(p);
}

static bool parse_color(const char *s, uint8_t rgb[3])
{
	static const struct {
		const char *name;
		uint8_t r, g, b;
	} NAMED[] = {
		{"off", 0, 0, 0},       {"red", 255, 0, 0},       {"green", 0, 255, 0},
		{"blue", 0, 0, 255},    {"white", 255, 255, 255}, {"yellow", 255, 160, 0},
		{"orange", 255, 64, 0}, {"purple", 160, 0, 255},  {"cyan", 0, 255, 255},
		{"pink", 255, 40, 120}, {"magenta", 255, 0, 255},
	};
	for (size_t i = 0; i < ARRAY_SIZE(NAMED); i++) {
		if (strcasecmp(s, NAMED[i].name) == 0) {
			rgb[0] = NAMED[i].r;
			rgb[1] = NAMED[i].g;
			rgb[2] = NAMED[i].b;
			return true;
		}
	}
	if (s[0] == '#') {
		s++;
	}
	if (strlen(s) != 6) {
		return false;
	}
	char *end;
	unsigned long v = strtoul(s, &end, 16);
	if (*end) {
		return false;
	}
	rgb[0] = v >> 16;
	rgb[1] = v >> 8;
	rgb[2] = v;
	return true;
}

static cJSON *light_set(const cJSON *params)
{
	const char *color = cJSON_GetStringValue(cJSON_GetObjectItem(params, "color"));
	const char *mode = cJSON_GetStringValue(cJSON_GetObjectItem(params, "mode"));
	uint8_t rgb[3];
	if (!color || !parse_color(color, rgb)) {
		return error("color must be a colour name or #RRGGBB");
	}
	if (!mode) {
		mode = "solid";
	}
	if (strcmp(mode, "solid") && strcmp(mode, "blink") && strcmp(mode, "breathe")) {
		return error("mode must be solid, blink or breathe");
	}
	board_set_light(rgb[0], rgb[1], rgb[2], mode);
	cJSON *p = cJSON_CreateObject();
	char hex[8];
	snprintf(hex, sizeof(hex), "#%02x%02x%02x", rgb[0], rgb[1], rgb[2]);
	cJSON_AddStringToObject(p, "color", hex);
	cJSON_AddStringToObject(p, "mode", mode);
	return ok(p);
}

cJSON *commands_run(const char *command, const cJSON *params)
{
	if (strcmp(command, "device.health") == 0) {
		return device_health();
	}
	if (board_has_sensors() && strcmp(command, "motion.read") == 0) {
		return motion_read();
	}
	if (board_has_sensors() && strcmp(command, "sound.level") == 0) {
		return sound_level(params);
	}
	if (strcmp(command, "light.set") == 0) {
		return light_set(params);
	}
	char msg[96];
	snprintf(msg, sizeof(msg), "unsupported command: %s", command);
	return error(msg);
}
```

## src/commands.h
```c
/* The commands Muse can invoke on this gadget. */
#pragma once
#include "cJSON.h"

/* The commands_v2 object for link.register (caller owns it). */
cJSON *commands_specs(void);

/* Runs one command; returns {"ok": true, "payload": {...}} or
 * {"ok": false, "error": "..."} (caller owns it). */
cJSON *commands_run(const char *command, const cJSON *params);
```

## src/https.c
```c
#include <stdio.h>
#include <stdlib.h>
#include <string.h>
#include <zephyr/kernel.h>
#include <zephyr/logging/log.h>
#include <zephyr/net/http/client.h>
#include <zephyr/net/socket.h>
#include "https.h"
#include "net.h"

LOG_MODULE_REGISTER(https, LOG_LEVEL_INF);

#define TIMEOUT_MS 15000

int https_split_url(const char *url, char *host, size_t host_size, unsigned short *port,
		    const char **path, int *tls)
{
	const char *p;
	if (strncmp(url, "https://", 8) == 0) {
		*tls = 1;
		p = url + 8;
	} else if (IS_ENABLED(CONFIG_MUSE_ALLOW_PLAINTEXT) && strncmp(url, "http://", 7) == 0) {
		*tls = 0;
		p = url + 7;
	} else {
		return -EINVAL;
	}
	size_t n = strcspn(p, ":/");
	if (n == 0 || n >= host_size) {
		return -EINVAL;
	}
	memcpy(host, p, n);
	host[n] = '\0';
	p += n;
	*port = *tls ? 443 : 80;
	if (*p == ':') {
		*port = (unsigned short)strtoul(p + 1, (char **)&p, 10);
	}
	*path = *p ? p : "/";
	return 0;
}

struct collect {
	char *buf;
	size_t cap;
	size_t len;
	int status;
};

static int on_response(struct http_response *rsp, enum http_final_call final, void *user_data)
{
	struct collect *c = user_data;
	if (rsp->http_status_code) {
		c->status = rsp->http_status_code;
	}
	if (rsp->body_frag_start && rsp->body_frag_len) {
		size_t n = MIN(rsp->body_frag_len, c->cap - 1 - c->len);
		memcpy(c->buf + c->len, rsp->body_frag_start, n);
		c->len += n;
	}
	return 0;
}

int https_request(const char *method, const char *url, const char *const *headers,
		  const char *body, char *resp, size_t resp_cap)
{
	char host[96];
	unsigned short port;
	const char *path;
	int tls;
	if (https_split_url(url, host, sizeof(host), &port, &path, &tls) != 0) {
		LOG_ERR("refusing URL %s", url);
		return -EINVAL;
	}
	int fd = net_open(host, port, tls, TIMEOUT_MS);
	if (fd < 0) {
		return fd;
	}
	static uint8_t recv_buf[1024];
	struct collect c = {.buf = resp, .cap = resp_cap, .len = 0, .status = 0};
	struct http_request req = {0};
	req.method = strcmp(method, "POST") == 0 ? HTTP_POST : HTTP_GET;
	req.url = path;
	req.host = host;
	req.protocol = "HTTP/1.1";
	req.response = on_response;
	req.recv_buf = recv_buf;
	req.recv_buf_len = sizeof(recv_buf);
	req.header_fields = (const char **)headers;
	if (body) {
		req.content_type_value = "application/json";
		req.payload = body;
		req.payload_len = strlen(body);
	}
	resp[0] = '\0';
	int rc = http_client_req(fd, &req, TIMEOUT_MS, &c);
	zsock_close(fd);
	resp[c.len] = '\0';
	if (rc < 0 || c.status == 0) {
		LOG_WRN("%s %s failed: %d", method, path, rc);
		return rc < 0 ? rc : -EIO;
	}
	return c.status;
}
```

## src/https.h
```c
/* One HTTP(S) request, response body collected into a caller buffer. */
#pragma once
#include <stddef.h>

/* headers: "Name: value\r\n" strings ending with NULL. Returns the HTTP
 * status, or <0 for a transport failure. The body is NUL-terminated. */
int https_request(const char *method, const char *url, const char *const *headers,
		  const char *body, char *resp, size_t resp_cap);

/* Splits scheme://host[:port]/path; false if malformed or not allowed. */
int https_split_url(const char *url, char *host, size_t host_size, unsigned short *port,
		    const char **path, int *tls);
```
